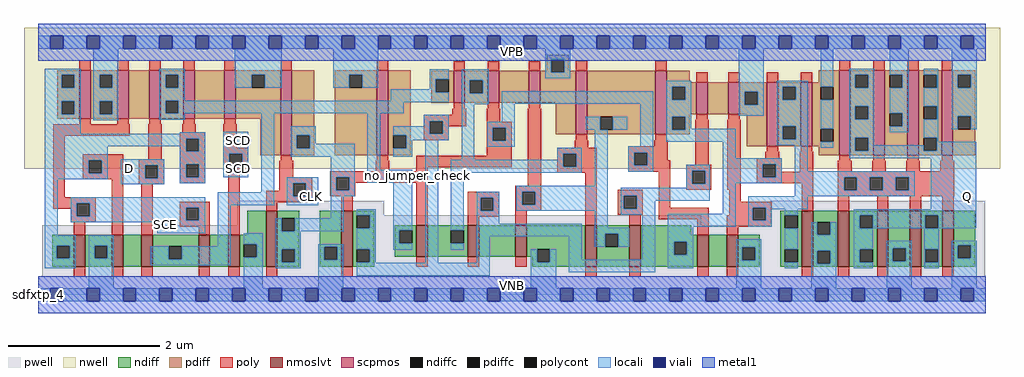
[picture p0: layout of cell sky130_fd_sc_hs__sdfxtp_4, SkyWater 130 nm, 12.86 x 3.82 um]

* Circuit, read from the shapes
.subckt sky130_fd_sc_hs__sdfxtp_4 CLK D SCD SCE VGND VNB VPB VPWR Q
XM1 VGND SCE n1 VNB sky130_fd_pr__nfet_01v8_lvt w=0.42 l=0.15
XM2 n2 n1 VGND VNB sky130_fd_pr__nfet_01v8_lvt w=0.42 l=0.15
XM3 n3 D n2 VNB sky130_fd_pr__nfet_01v8_lvt w=0.42 l=0.15
XM4 n4 SCE n3 VNB sky130_fd_pr__nfet_01v8_lvt w=0.42 l=0.15
XM5 VGND SCD n4 VNB sky130_fd_pr__nfet_01v8_lvt w=0.42 l=0.15
XM6 n5 CLK VGND VNB sky130_fd_pr__nfet_01v8_lvt w=0.74 l=0.15
XM7 n6 n5 VGND VNB sky130_fd_pr__nfet_01v8_lvt w=0.74 l=0.15
XM8 n7 n5 n3 VNB sky130_fd_pr__nfet_01v8_lvt w=0.42 l=0.15
XM9 n8 n6 n7 VNB sky130_fd_pr__nfet_01v8_lvt w=0.42 l=0.15
XM10 VGND n9 n8 VNB sky130_fd_pr__nfet_01v8_lvt w=0.42 l=0.15
XM11 n9 n7 VGND VNB sky130_fd_pr__nfet_01v8_lvt w=0.55 l=0.15
XM12 n10 n6 n9 VNB sky130_fd_pr__nfet_01v8_lvt w=0.55 l=0.15
XM13 n11 n5 n10 VNB sky130_fd_pr__nfet_01v8_lvt w=0.42 l=0.15
XM14 VGND n12 n11 VNB sky130_fd_pr__nfet_01v8_lvt w=0.42 l=0.15
XM15 VGND n10 n12 VNB sky130_fd_pr__nfet_01v8_lvt w=0.74 l=0.15
XM16 Q n12 VGND VNB sky130_fd_pr__nfet_01v8_lvt w=0.74 l=0.15 m=4
XM17 VPWR SCE n1 VPB sky130_fd_pr__pfet_01v8 w=0.64 l=0.15
XM18 n13 SCE VPWR VPB sky130_fd_pr__pfet_01v8 w=0.64 l=0.15
XM19 n3 D n13 VPB sky130_fd_pr__pfet_01v8 w=0.64 l=0.15
XM20 n14 n1 n3 VPB sky130_fd_pr__pfet_01v8 w=0.64 l=0.15
XM21 VPWR SCD n14 VPB sky130_fd_pr__pfet_01v8 w=0.64 l=0.15
XM22 n5 CLK VPWR VPB sky130_fd_pr__pfet_01v8 w=1.12 l=0.15
XM23 n6 n5 VPWR VPB sky130_fd_pr__pfet_01v8 w=1.12 l=0.15
XM24 n7 n6 n3 VPB sky130_fd_pr__pfet_01v8 w=0.42 l=0.15
XM25 n15 n5 n7 VPB sky130_fd_pr__pfet_01v8 w=0.42 l=0.15
XM26 VPWR n9 n15 VPB sky130_fd_pr__pfet_01v8 w=0.42 l=0.15
XM27 n9 n7 VPWR VPB sky130_fd_pr__pfet_01v8 w=0.84 l=0.15
XM28 n10 n5 n9 VPB sky130_fd_pr__pfet_01v8 w=0.84 l=0.15
XM29 n16 n6 n10 VPB sky130_fd_pr__pfet_01v8 w=0.42 l=0.15
XM30 VPWR n12 n16 VPB sky130_fd_pr__pfet_01v8 w=0.42 l=0.15
XM31 n12 n10 VPWR VPB sky130_fd_pr__pfet_01v8 w=0.84 l=0.15 m=2
XM32 Q n12 VPWR VPB sky130_fd_pr__pfet_01v8 w=1.12 l=0.15 m=4
.ends

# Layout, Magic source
magic
tech sky130A
magscale 1 2
<< nwell >>
rect -38 332 2534 704
<< pwell >>
rect 524 210 911 248
rect 524 184 1747 210
rect 1929 184 2495 248
rect 10 49 2495 184
rect 0 0 2496 49
<< scpmos >>
rect 108 464 138 592
rect 208 464 238 592
rect 292 464 322 592
rect 382 464 412 592
rect 490 464 520 592
rect 638 368 668 592
rect 892 368 922 592
rect 1094 506 1124 590
rect 1184 506 1214 590
rect 1292 506 1322 590
rect 1416 423 1446 591
rect 1626 423 1656 591
rect 1734 476 1764 560
rect 1818 476 1848 560
rect 1919 392 1949 560
rect 2009 392 2039 560
rect 2110 368 2140 592
rect 2200 368 2230 592
rect 2290 368 2320 592
rect 2380 368 2410 592
<< nmoslvt >>
rect 93 74 123 158
rect 193 74 223 158
rect 271 74 301 158
rect 422 74 452 158
rect 500 74 530 158
rect 600 74 630 222
rect 798 74 828 222
rect 996 100 1026 184
rect 1132 100 1162 184
rect 1257 100 1287 184
rect 1441 74 1471 184
rect 1557 74 1587 184
rect 1736 74 1766 158
rect 1814 74 1844 158
rect 2012 74 2042 222
rect 2107 74 2137 222
rect 2210 74 2240 222
rect 2296 74 2326 222
rect 2382 74 2412 222
<< ndiff >>
rect 550 158 600 222
rect 36 130 93 158
rect 36 96 48 130
rect 82 96 93 130
rect 36 74 93 96
rect 123 130 193 158
rect 123 96 148 130
rect 182 96 193 130
rect 123 74 193 96
rect 223 74 271 158
rect 301 128 422 158
rect 301 94 344 128
rect 378 94 422 128
rect 301 74 422 94
rect 452 74 500 158
rect 530 133 600 158
rect 530 99 541 133
rect 575 99 600 133
rect 530 74 600 99
rect 630 202 687 222
rect 630 168 641 202
rect 675 168 687 202
rect 630 120 687 168
rect 630 86 641 120
rect 675 86 687 120
rect 630 74 687 86
rect 741 127 798 222
rect 741 93 753 127
rect 787 93 798 127
rect 741 74 798 93
rect 828 210 885 222
rect 828 176 839 210
rect 873 176 885 210
rect 828 120 885 176
rect 828 86 839 120
rect 873 86 885 120
rect 939 170 996 184
rect 939 136 951 170
rect 985 136 996 170
rect 939 100 996 136
rect 1026 170 1132 184
rect 1026 136 1087 170
rect 1121 136 1132 170
rect 1026 100 1132 136
rect 1162 100 1257 184
rect 1287 120 1441 184
rect 1287 100 1314 120
rect 828 74 885 86
rect 1302 86 1314 100
rect 1348 86 1441 120
rect 1302 74 1441 86
rect 1471 161 1557 184
rect 1471 127 1494 161
rect 1528 127 1557 161
rect 1471 74 1557 127
rect 1587 158 1721 184
rect 1955 210 2012 222
rect 1955 176 1967 210
rect 2001 176 2012 210
rect 1587 140 1736 158
rect 1587 106 1675 140
rect 1709 106 1736 140
rect 1587 74 1736 106
rect 1766 74 1814 158
rect 1844 125 1901 158
rect 1844 91 1855 125
rect 1889 91 1901 125
rect 1844 74 1901 91
rect 1955 120 2012 176
rect 1955 86 1967 120
rect 2001 86 2012 120
rect 1955 74 2012 86
rect 2042 192 2107 222
rect 2042 158 2053 192
rect 2087 158 2107 192
rect 2042 116 2107 158
rect 2042 82 2053 116
rect 2087 82 2107 116
rect 2042 74 2107 82
rect 2137 210 2210 222
rect 2137 176 2165 210
rect 2199 176 2210 210
rect 2137 120 2210 176
rect 2137 86 2165 120
rect 2199 86 2210 120
rect 2137 74 2210 86
rect 2240 123 2296 222
rect 2240 89 2251 123
rect 2285 89 2296 123
rect 2240 74 2296 89
rect 2326 210 2382 222
rect 2326 176 2337 210
rect 2371 176 2382 210
rect 2326 120 2382 176
rect 2326 86 2337 120
rect 2371 86 2382 120
rect 2326 74 2382 86
rect 2412 131 2469 222
rect 2412 97 2423 131
rect 2457 97 2469 131
rect 2412 74 2469 97
<< pdiff >>
rect 1340 621 1398 633
rect 49 580 108 592
rect 49 546 61 580
rect 95 546 108 580
rect 49 510 108 546
rect 49 476 61 510
rect 95 476 108 510
rect 49 464 108 476
rect 138 580 208 592
rect 138 546 161 580
rect 195 546 208 580
rect 138 510 208 546
rect 138 476 161 510
rect 195 476 208 510
rect 138 464 208 476
rect 238 464 292 592
rect 322 580 382 592
rect 322 546 335 580
rect 369 546 382 580
rect 322 512 382 546
rect 322 478 335 512
rect 369 478 382 512
rect 322 464 382 478
rect 412 464 490 592
rect 520 580 638 592
rect 520 546 562 580
rect 596 546 638 580
rect 520 464 638 546
rect 585 368 638 464
rect 668 421 727 592
rect 668 387 681 421
rect 715 387 727 421
rect 668 368 727 387
rect 781 580 892 592
rect 781 546 819 580
rect 853 546 892 580
rect 781 368 892 546
rect 922 421 981 592
rect 1340 590 1352 621
rect 1035 568 1094 590
rect 1035 534 1047 568
rect 1081 534 1094 568
rect 1035 506 1094 534
rect 1124 565 1184 590
rect 1124 531 1137 565
rect 1171 531 1184 565
rect 1124 506 1184 531
rect 1214 506 1292 590
rect 1322 587 1352 590
rect 1386 591 1398 621
rect 1386 587 1416 591
rect 1322 506 1416 587
rect 922 387 935 421
rect 969 387 981 421
rect 922 368 981 387
rect 1363 423 1416 506
rect 1446 469 1626 591
rect 1446 435 1480 469
rect 1514 435 1626 469
rect 1446 423 1626 435
rect 1656 560 1716 591
rect 2057 560 2110 592
rect 1656 548 1734 560
rect 1656 514 1670 548
rect 1704 514 1734 548
rect 1656 476 1734 514
rect 1764 476 1818 560
rect 1848 535 1919 560
rect 1848 501 1861 535
rect 1895 501 1919 535
rect 1848 476 1919 501
rect 1656 469 1716 476
rect 1656 435 1670 469
rect 1704 435 1716 469
rect 1656 423 1716 435
rect 1866 392 1919 476
rect 1949 548 2009 560
rect 1949 514 1962 548
rect 1996 514 2009 548
rect 1949 444 2009 514
rect 1949 410 1962 444
rect 1996 410 2009 444
rect 1949 392 2009 410
rect 2039 548 2110 560
rect 2039 514 2061 548
rect 2095 514 2110 548
rect 2039 438 2110 514
rect 2039 404 2061 438
rect 2095 404 2110 438
rect 2039 392 2110 404
rect 2057 368 2110 392
rect 2140 580 2200 592
rect 2140 546 2153 580
rect 2187 546 2200 580
rect 2140 497 2200 546
rect 2140 463 2153 497
rect 2187 463 2200 497
rect 2140 414 2200 463
rect 2140 380 2153 414
rect 2187 380 2200 414
rect 2140 368 2200 380
rect 2230 580 2290 592
rect 2230 546 2243 580
rect 2277 546 2290 580
rect 2230 478 2290 546
rect 2230 444 2243 478
rect 2277 444 2290 478
rect 2230 368 2290 444
rect 2320 580 2380 592
rect 2320 546 2333 580
rect 2367 546 2380 580
rect 2320 497 2380 546
rect 2320 463 2333 497
rect 2367 463 2380 497
rect 2320 414 2380 463
rect 2320 380 2333 414
rect 2367 380 2380 414
rect 2320 368 2380 380
rect 2410 580 2469 592
rect 2410 546 2423 580
rect 2457 546 2469 580
rect 2410 471 2469 546
rect 2410 437 2423 471
rect 2457 437 2469 471
rect 2410 368 2469 437
<< ndiffc >>
rect 48 96 82 130
rect 148 96 182 130
rect 344 94 378 128
rect 541 99 575 133
rect 641 168 675 202
rect 641 86 675 120
rect 753 93 787 127
rect 839 176 873 210
rect 839 86 873 120
rect 951 136 985 170
rect 1087 136 1121 170
rect 1314 86 1348 120
rect 1494 127 1528 161
rect 1967 176 2001 210
rect 1675 106 1709 140
rect 1855 91 1889 125
rect 1967 86 2001 120
rect 2053 158 2087 192
rect 2053 82 2087 116
rect 2165 176 2199 210
rect 2165 86 2199 120
rect 2251 89 2285 123
rect 2337 176 2371 210
rect 2337 86 2371 120
rect 2423 97 2457 131
<< pdiffc >>
rect 61 546 95 580
rect 61 476 95 510
rect 161 546 195 580
rect 161 476 195 510
rect 335 546 369 580
rect 335 478 369 512
rect 562 546 596 580
rect 681 387 715 421
rect 819 546 853 580
rect 1047 534 1081 568
rect 1137 531 1171 565
rect 1352 587 1386 621
rect 935 387 969 421
rect 1480 435 1514 469
rect 1670 514 1704 548
rect 1861 501 1895 535
rect 1670 435 1704 469
rect 1962 514 1996 548
rect 1962 410 1996 444
rect 2061 514 2095 548
rect 2061 404 2095 438
rect 2153 546 2187 580
rect 2153 463 2187 497
rect 2153 380 2187 414
rect 2243 546 2277 580
rect 2243 444 2277 478
rect 2333 546 2367 580
rect 2333 463 2367 497
rect 2333 380 2367 414
rect 2423 546 2457 580
rect 2423 437 2457 471
<< poly >>
rect 108 592 138 618
rect 208 592 238 618
rect 292 592 322 618
rect 382 592 412 618
rect 490 592 520 618
rect 638 592 668 618
rect 892 592 922 618
rect 108 449 138 464
rect 208 449 238 464
rect 292 449 322 464
rect 382 449 412 464
rect 490 449 520 464
rect 39 419 241 449
rect 39 257 69 419
rect 117 355 223 371
rect 289 357 325 449
rect 379 428 415 449
rect 373 412 439 428
rect 373 378 389 412
rect 423 378 439 412
rect 117 321 133 355
rect 167 321 223 355
rect 117 305 223 321
rect 39 241 151 257
rect 39 227 101 241
rect 85 207 101 227
rect 135 207 151 241
rect 85 191 151 207
rect 93 158 123 191
rect 193 158 223 305
rect 265 341 331 357
rect 265 307 281 341
rect 315 307 331 341
rect 265 291 331 307
rect 373 344 439 378
rect 373 310 389 344
rect 423 310 439 344
rect 487 388 523 449
rect 487 372 553 388
rect 487 338 503 372
rect 537 338 553 372
rect 1094 590 1124 616
rect 1184 590 1214 616
rect 1292 590 1322 616
rect 1416 591 1446 617
rect 1626 591 1656 617
rect 2110 592 2140 618
rect 2200 592 2230 618
rect 2290 592 2320 618
rect 2380 592 2410 618
rect 1094 491 1124 506
rect 1184 491 1214 506
rect 1292 491 1322 506
rect 1091 474 1127 491
rect 1015 458 1127 474
rect 1015 424 1031 458
rect 1065 444 1127 458
rect 1181 456 1217 491
rect 1065 424 1081 444
rect 1015 408 1081 424
rect 1181 440 1247 456
rect 1181 406 1197 440
rect 1231 406 1247 440
rect 638 353 668 368
rect 892 353 922 368
rect 1181 366 1247 406
rect 487 322 553 338
rect 373 294 439 310
rect 271 158 301 291
rect 373 230 452 246
rect 373 196 389 230
rect 423 196 452 230
rect 373 180 452 196
rect 422 158 452 180
rect 500 158 530 322
rect 635 310 671 353
rect 889 326 925 353
rect 996 336 1247 366
rect 996 326 1026 336
rect 769 310 1026 326
rect 635 294 721 310
rect 635 274 671 294
rect 600 260 671 274
rect 705 260 721 294
rect 769 276 785 310
rect 819 296 1026 310
rect 819 276 835 296
rect 769 260 835 276
rect 600 244 721 260
rect 600 222 630 244
rect 798 222 828 260
rect 996 184 1026 296
rect 1289 288 1325 491
rect 1734 560 1764 586
rect 1818 560 1848 586
rect 1919 560 1949 586
rect 2009 560 2039 586
rect 1734 461 1764 476
rect 1818 461 1848 476
rect 1416 408 1446 423
rect 1626 408 1656 423
rect 1413 388 1449 408
rect 1623 391 1659 408
rect 1367 372 1471 388
rect 1367 338 1383 372
rect 1417 338 1471 372
rect 1367 322 1471 338
rect 1554 375 1659 391
rect 1554 341 1570 375
rect 1604 355 1659 375
rect 1604 341 1665 355
rect 1731 343 1767 461
rect 1554 325 1665 341
rect 1257 272 1325 288
rect 1132 256 1215 272
rect 1132 222 1165 256
rect 1199 222 1215 256
rect 1132 206 1215 222
rect 1257 238 1275 272
rect 1309 238 1325 272
rect 1257 222 1325 238
rect 1132 184 1162 206
rect 1257 184 1287 222
rect 1441 184 1471 322
rect 1527 261 1593 277
rect 1527 227 1543 261
rect 1577 227 1593 261
rect 1527 211 1593 227
rect 1635 229 1665 325
rect 1707 327 1773 343
rect 1707 293 1723 327
rect 1757 293 1773 327
rect 1707 277 1773 293
rect 1815 277 1851 461
rect 1919 377 1949 392
rect 2009 377 2039 392
rect 1916 360 1952 377
rect 1893 344 1959 360
rect 1893 310 1909 344
rect 1943 324 1959 344
rect 2006 324 2042 377
rect 2110 353 2140 368
rect 2200 353 2230 368
rect 2290 353 2320 368
rect 2380 353 2410 368
rect 1943 310 2042 324
rect 1893 294 2042 310
rect 1821 246 1851 277
rect 1821 230 1933 246
rect 1557 184 1587 211
rect 1635 199 1766 229
rect 1821 210 1883 230
rect 996 74 1026 100
rect 1132 74 1162 100
rect 1257 74 1287 100
rect 1736 158 1766 199
rect 1814 196 1883 210
rect 1917 196 1933 230
rect 2012 222 2042 294
rect 2107 326 2143 353
rect 2197 326 2233 353
rect 2287 326 2323 353
rect 2377 326 2413 353
rect 2107 310 2413 326
rect 2107 276 2123 310
rect 2157 276 2191 310
rect 2225 276 2259 310
rect 2293 276 2413 310
rect 2107 260 2413 276
rect 2107 222 2137 260
rect 2210 222 2240 260
rect 2296 222 2326 260
rect 2382 222 2412 260
rect 1814 180 1933 196
rect 1814 158 1844 180
rect 93 48 123 74
rect 193 48 223 74
rect 271 48 301 74
rect 422 48 452 74
rect 500 48 530 74
rect 600 48 630 74
rect 798 48 828 74
rect 1441 48 1471 74
rect 1557 48 1587 74
rect 1736 48 1766 74
rect 1814 48 1844 74
rect 2012 48 2042 74
rect 2107 48 2137 74
rect 2210 48 2240 74
rect 2296 48 2326 74
rect 2382 48 2412 74
<< polycont >>
rect 389 378 423 412
rect 133 321 167 355
rect 101 207 135 241
rect 281 307 315 341
rect 389 310 423 344
rect 503 338 537 372
rect 1031 424 1065 458
rect 1197 406 1231 440
rect 389 196 423 230
rect 671 260 705 294
rect 785 276 819 310
rect 1383 338 1417 372
rect 1570 341 1604 375
rect 1165 222 1199 256
rect 1275 238 1309 272
rect 1543 227 1577 261
rect 1723 293 1757 327
rect 1909 310 1943 344
rect 1883 196 1917 230
rect 2123 276 2157 310
rect 2191 276 2225 310
rect 2259 276 2293 310
<< locali >>
rect 0 649 31 683
rect 65 649 127 683
rect 161 649 223 683
rect 257 649 319 683
rect 353 649 415 683
rect 449 649 511 683
rect 545 649 607 683
rect 641 649 703 683
rect 737 649 799 683
rect 833 649 895 683
rect 929 649 991 683
rect 1025 649 1087 683
rect 1121 649 1183 683
rect 1217 649 1279 683
rect 1313 649 1375 683
rect 1409 649 1471 683
rect 1505 649 1567 683
rect 1601 649 1663 683
rect 1697 649 1759 683
rect 1793 649 1855 683
rect 1889 649 1951 683
rect 1985 649 2047 683
rect 2081 649 2143 683
rect 2177 649 2239 683
rect 2273 649 2335 683
rect 2369 649 2431 683
rect 2465 649 2496 683
rect 17 580 111 596
rect 17 546 61 580
rect 95 546 111 580
rect 17 510 111 546
rect 17 476 61 510
rect 95 476 111 510
rect 17 425 111 476
rect 145 580 211 649
rect 145 546 161 580
rect 195 546 211 580
rect 145 510 211 546
rect 145 476 161 510
rect 195 476 211 510
rect 145 460 211 476
rect 319 580 385 596
rect 319 546 335 580
rect 369 546 385 580
rect 517 580 641 649
rect 517 546 562 580
rect 596 546 641 580
rect 777 580 895 649
rect 1336 621 1402 649
rect 777 546 819 580
rect 853 546 895 580
rect 1031 568 1081 594
rect 319 512 385 546
rect 1031 542 1047 568
rect 929 534 1047 542
rect 929 512 1081 534
rect 319 478 335 512
rect 369 508 1081 512
rect 1115 565 1187 594
rect 1336 587 1352 621
rect 1386 587 1402 621
rect 1336 571 1402 587
rect 1115 531 1137 565
rect 1171 531 1187 565
rect 1654 548 1720 564
rect 369 478 963 508
rect 1115 502 1187 531
rect 1221 503 1620 537
rect 319 462 385 478
rect 373 425 439 428
rect 17 412 439 425
rect 17 391 389 412
rect 17 355 183 391
rect 373 378 389 391
rect 423 378 439 412
rect 17 321 133 355
rect 167 321 183 355
rect 17 305 183 321
rect 217 341 331 357
rect 217 307 281 341
rect 315 307 331 341
rect 17 157 51 305
rect 217 291 331 307
rect 373 344 439 378
rect 373 310 389 344
rect 423 310 439 344
rect 487 372 553 430
rect 487 338 503 372
rect 537 338 553 372
rect 487 310 553 338
rect 373 294 439 310
rect 587 270 621 478
rect 665 421 731 444
rect 665 387 681 421
rect 715 398 731 421
rect 715 387 833 398
rect 665 364 833 387
rect 771 310 833 364
rect 85 241 439 257
rect 85 207 101 241
rect 135 230 439 241
rect 135 207 389 230
rect 85 196 389 207
rect 423 196 439 230
rect 85 191 439 196
rect 313 162 439 191
rect 473 236 621 270
rect 655 294 737 310
rect 655 260 671 294
rect 705 260 737 294
rect 655 236 737 260
rect 771 276 785 310
rect 819 276 833 310
rect 867 330 901 478
rect 1015 458 1081 474
rect 1015 444 1031 458
rect 935 424 1031 444
rect 1065 424 1081 458
rect 935 421 1081 424
rect 969 408 1081 421
rect 969 387 985 408
rect 935 364 985 387
rect 867 296 985 330
rect 771 260 833 276
rect 17 130 98 157
rect 17 96 48 130
rect 82 96 98 130
rect 17 70 98 96
rect 132 130 198 157
rect 132 96 148 130
rect 182 96 198 130
rect 473 128 507 236
rect 771 202 805 260
rect 625 168 641 202
rect 675 168 805 202
rect 839 210 889 226
rect 873 176 889 210
rect 132 17 198 96
rect 296 94 344 128
rect 378 94 507 128
rect 296 78 507 94
rect 541 133 591 162
rect 575 99 591 133
rect 541 17 591 99
rect 625 120 691 168
rect 625 86 641 120
rect 675 86 691 120
rect 625 70 691 86
rect 737 127 803 134
rect 737 93 753 127
rect 787 93 803 127
rect 737 17 803 93
rect 839 120 889 176
rect 873 86 889 120
rect 935 170 985 296
rect 935 136 951 170
rect 935 119 985 136
rect 839 85 889 86
rect 1019 85 1053 408
rect 1115 356 1149 502
rect 1221 456 1255 503
rect 1183 440 1255 456
rect 1183 406 1197 440
rect 1231 406 1255 440
rect 1443 435 1480 469
rect 1514 435 1552 469
rect 1183 390 1255 406
rect 1367 372 1432 388
rect 1367 356 1383 372
rect 1087 338 1383 356
rect 1417 338 1432 372
rect 1087 322 1432 338
rect 1087 170 1121 322
rect 1466 288 1500 435
rect 1586 391 1620 503
rect 1654 514 1670 548
rect 1704 514 1720 548
rect 1654 469 1720 514
rect 1845 535 1911 649
rect 1845 501 1861 535
rect 1895 501 1911 535
rect 1845 472 1911 501
rect 1946 548 2027 564
rect 1946 514 1962 548
rect 1996 514 2027 548
rect 1654 435 1670 469
rect 1704 438 1720 469
rect 1946 444 2027 514
rect 1704 435 1837 438
rect 1654 404 1837 435
rect 1554 375 1620 391
rect 1554 341 1570 375
rect 1604 341 1620 375
rect 1803 360 1837 404
rect 1946 410 1962 444
rect 1996 410 2027 444
rect 1946 394 2027 410
rect 1803 344 1959 360
rect 1554 325 1620 341
rect 1707 327 1769 343
rect 1259 272 1500 288
rect 1707 293 1723 327
rect 1757 293 1769 327
rect 1707 282 1769 293
rect 1087 119 1121 136
rect 1155 256 1215 272
rect 1155 222 1165 256
rect 1199 222 1215 256
rect 1259 238 1275 272
rect 1309 238 1500 272
rect 1259 222 1500 238
rect 1155 188 1215 222
rect 1155 154 1432 188
rect 1155 85 1189 154
rect 839 51 1189 85
rect 1298 86 1314 120
rect 1348 86 1364 120
rect 1298 17 1364 86
rect 1398 93 1432 154
rect 1466 177 1500 222
rect 1534 261 1769 282
rect 1534 227 1543 261
rect 1577 248 1769 261
rect 1803 310 1909 344
rect 1943 310 1959 344
rect 1803 294 1959 310
rect 1993 326 2027 394
rect 2061 548 2095 649
rect 2061 438 2095 514
rect 2061 388 2095 404
rect 2137 580 2203 596
rect 2137 546 2153 580
rect 2187 546 2203 580
rect 2137 497 2203 546
rect 2137 463 2153 497
rect 2187 463 2203 497
rect 2137 414 2203 463
rect 2243 580 2293 649
rect 2277 546 2293 580
rect 2243 478 2293 546
rect 2277 444 2293 478
rect 2243 428 2293 444
rect 2333 580 2371 596
rect 2367 546 2371 580
rect 2333 497 2371 546
rect 2367 463 2371 497
rect 2137 380 2153 414
rect 2187 394 2203 414
rect 2333 414 2371 463
rect 2407 580 2473 649
rect 2407 546 2423 580
rect 2457 546 2473 580
rect 2407 471 2473 546
rect 2407 437 2423 471
rect 2457 437 2473 471
rect 2187 380 2333 394
rect 2367 403 2371 414
rect 2367 380 2471 403
rect 2137 360 2471 380
rect 1993 310 2309 326
rect 1577 227 1625 248
rect 1534 211 1625 227
rect 1803 214 1837 294
rect 1993 276 2123 310
rect 2157 276 2191 310
rect 2225 276 2259 310
rect 2293 276 2309 310
rect 1993 260 2309 276
rect 1466 161 1557 177
rect 1466 127 1494 161
rect 1528 127 1557 161
rect 1591 93 1625 211
rect 1398 59 1625 93
rect 1659 180 1837 214
rect 1871 230 2027 260
rect 1871 196 1883 230
rect 1917 226 2027 230
rect 2352 226 2471 360
rect 1917 196 1933 226
rect 1871 180 1933 196
rect 1967 210 2001 226
rect 1659 140 1725 180
rect 2149 210 2471 226
rect 1659 106 1675 140
rect 1709 106 1725 140
rect 1659 70 1725 106
rect 1839 125 1905 146
rect 1839 91 1855 125
rect 1889 91 1905 125
rect 1839 17 1905 91
rect 1967 120 2001 176
rect 1967 70 2001 86
rect 2037 158 2053 192
rect 2087 158 2103 192
rect 2037 116 2103 158
rect 2037 82 2053 116
rect 2087 82 2103 116
rect 2037 17 2103 82
rect 2149 176 2165 210
rect 2199 176 2337 210
rect 2371 176 2471 210
rect 2149 120 2199 176
rect 2149 86 2165 120
rect 2149 70 2199 86
rect 2235 123 2301 142
rect 2235 89 2251 123
rect 2285 89 2301 123
rect 2235 17 2301 89
rect 2335 120 2373 176
rect 2335 86 2337 120
rect 2371 86 2373 120
rect 2335 70 2373 86
rect 2407 131 2473 142
rect 2407 97 2423 131
rect 2457 97 2473 131
rect 2407 17 2473 97
rect 0 -17 31 17
rect 65 -17 127 17
rect 161 -17 223 17
rect 257 -17 319 17
rect 353 -17 415 17
rect 449 -17 511 17
rect 545 -17 607 17
rect 641 -17 703 17
rect 737 -17 799 17
rect 833 -17 895 17
rect 929 -17 991 17
rect 1025 -17 1087 17
rect 1121 -17 1183 17
rect 1217 -17 1279 17
rect 1313 -17 1375 17
rect 1409 -17 1471 17
rect 1505 -17 1567 17
rect 1601 -17 1663 17
rect 1697 -17 1759 17
rect 1793 -17 1855 17
rect 1889 -17 1951 17
rect 1985 -17 2047 17
rect 2081 -17 2143 17
rect 2177 -17 2239 17
rect 2273 -17 2335 17
rect 2369 -17 2431 17
rect 2465 -17 2496 17
<< viali >>
rect 31 649 65 683
rect 127 649 161 683
rect 223 649 257 683
rect 319 649 353 683
rect 415 649 449 683
rect 511 649 545 683
rect 607 649 641 683
rect 703 649 737 683
rect 799 649 833 683
rect 895 649 929 683
rect 991 649 1025 683
rect 1087 649 1121 683
rect 1183 649 1217 683
rect 1279 649 1313 683
rect 1375 649 1409 683
rect 1471 649 1505 683
rect 1567 649 1601 683
rect 1663 649 1697 683
rect 1759 649 1793 683
rect 1855 649 1889 683
rect 1951 649 1985 683
rect 2047 649 2081 683
rect 2143 649 2177 683
rect 2239 649 2273 683
rect 2335 649 2369 683
rect 2431 649 2465 683
rect 31 -17 65 17
rect 127 -17 161 17
rect 223 -17 257 17
rect 319 -17 353 17
rect 415 -17 449 17
rect 511 -17 545 17
rect 607 -17 641 17
rect 703 -17 737 17
rect 799 -17 833 17
rect 895 -17 929 17
rect 991 -17 1025 17
rect 1087 -17 1121 17
rect 1183 -17 1217 17
rect 1279 -17 1313 17
rect 1375 -17 1409 17
rect 1471 -17 1505 17
rect 1567 -17 1601 17
rect 1663 -17 1697 17
rect 1759 -17 1793 17
rect 1855 -17 1889 17
rect 1951 -17 1985 17
rect 2047 -17 2081 17
rect 2143 -17 2177 17
rect 2239 -17 2273 17
rect 2335 -17 2369 17
rect 2431 -17 2465 17
<< metal1 >>
rect 0 683 2496 715
rect 0 649 31 683
rect 65 649 127 683
rect 161 649 223 683
rect 257 649 319 683
rect 353 649 415 683
rect 449 649 511 683
rect 545 649 607 683
rect 641 649 703 683
rect 737 649 799 683
rect 833 649 895 683
rect 929 649 991 683
rect 1025 649 1087 683
rect 1121 649 1183 683
rect 1217 649 1279 683
rect 1313 649 1375 683
rect 1409 649 1471 683
rect 1505 649 1567 683
rect 1601 649 1663 683
rect 1697 649 1759 683
rect 1793 649 1855 683
rect 1889 649 1951 683
rect 1985 649 2047 683
rect 2081 649 2143 683
rect 2177 649 2239 683
rect 2273 649 2335 683
rect 2369 649 2431 683
rect 2465 649 2496 683
rect 0 617 2496 649
rect 0 17 2496 49
rect 0 -17 31 17
rect 65 -17 127 17
rect 161 -17 223 17
rect 257 -17 319 17
rect 353 -17 415 17
rect 449 -17 511 17
rect 545 -17 607 17
rect 641 -17 703 17
rect 737 -17 799 17
rect 833 -17 895 17
rect 929 -17 991 17
rect 1025 -17 1087 17
rect 1121 -17 1183 17
rect 1217 -17 1279 17
rect 1313 -17 1375 17
rect 1409 -17 1471 17
rect 1505 -17 1567 17
rect 1601 -17 1663 17
rect 1697 -17 1759 17
rect 1793 -17 1855 17
rect 1889 -17 1951 17
rect 1985 -17 2047 17
rect 2081 -17 2143 17
rect 2177 -17 2239 17
rect 2273 -17 2335 17
rect 2369 -17 2431 17
rect 2465 -17 2496 17
rect 0 -49 2496 -17
<< labels >>
rlabel comment s 0 0 0 0 4 sdfxtp_4
flabel comment s 1000 314 1000 314 0 FreeSans 200 0 0 0 no_jumper_check
flabel pwell s 0 0 2496 49 0 FreeSans 200 0 0 0 VNB
port 6 nsew ground bidirectional
flabel nwell s 0 617 2496 666 0 FreeSans 200 0 0 0 VPB
port 7 nsew power bidirectional
flabel metal1 s 0 617 2496 666 0 FreeSans 340 0 0 0 VPWR
port 8 nsew power bidirectional
flabel metal1 s 0 0 2496 49 0 FreeSans 340 0 0 0 VGND
port 5 nsew ground bidirectional
flabel locali s 319 168 353 202 0 FreeSans 340 0 0 0 SCE
port 4 nsew signal input
flabel locali s 703 242 737 276 0 FreeSans 340 0 0 0 CLK
port 1 nsew clock input
flabel locali s 223 316 257 350 0 FreeSans 340 0 0 0 D
port 2 nsew signal input
flabel locali s 511 316 545 350 0 FreeSans 340 0 0 0 SCD
port 3 nsew signal input
flabel locali s 511 390 545 424 0 FreeSans 340 0 0 0 SCD
port 3 nsew signal input
flabel locali s 2431 242 2465 276 0 FreeSans 340 0 0 0 Q
port 9 nsew signal output
<< properties >>
string LEFsite unit
string LEFclass CORE
string FIXED_BBOX 0 0 2496 666
string GDS_FILE $PDKPATH/libs.ref/sky130_fd_sc_hs/gds/sky130_fd_sc_hs.gds
string LEFsymmetry X Y
string GDS_END 2259738
string GDS_START 2242276
<< end >>
